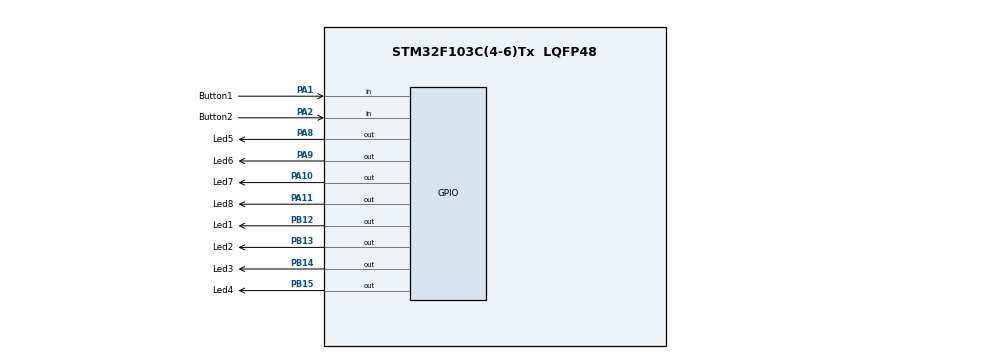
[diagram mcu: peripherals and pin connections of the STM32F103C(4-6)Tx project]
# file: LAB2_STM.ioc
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Mcu.Family=STM32F1
PA9.GPIO_Label=Led6
PB14.GPIO_Label=Led3
PA11.GPIO_Label=Led8
PB13.GPIO_Label=Led2
VP_SYS_VS_ND.Mode=No_Debug
PB13.Signal=GPIO_Output
PB15.Signal=GPIO_Output
ProjectManager.StackSize=0x400
PA8.GPIO_Label=Led5
ProjectManager.TargetToolchain=STM32CubeIDE
PA9.Signal=GPIO_Output
PA1.Signal=GPIO_Input
PB14.Signal=GPIO_Output
board=custom
PB12.GPIO_Label=Led1
RCC.APB2Freq_Value=8000000
PB15.GPIO_Label=Led4
PA1.GPIO_Label=Button1
PA10.GPIO_Label=Led7
PA8.Signal=GPIO_Output
Mcu.Name=STM32F103C(4-6)Tx
PA2.Signal=GPIO_Input
Mcu.Package=LQFP48
PA2.GPIO_Label=Button2
PA11.Signal=GPIO_Output
PA10.Signal=GPIO_Output
ProjectManager.HeapSize=0x200
NVIC.PriorityGroup=NVIC_PRIORITYGROUP_4
RCC.APB1Freq_Value=8000000
PB12.Signal=GPIO_Output

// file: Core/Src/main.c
/* USER CODE BEGIN Header */
/**
 ******************************************************************************
 * @file           : main.c
 * @brief          : Main program body
 ******************************************************************************
 * @attention
 *
 * <h2><center>&copy; Copyright (c) 2022 STMicroelectronics.
 * All rights reserved.</center></h2>
 *
 * This software component is licensed by ST under BSD 3-Clause license,
 * the "License"; You may not use this file except in compliance with the
 * License. You may obtain a copy of the License at:
 *                        opensource.org/licenses/BSD-3-Clause
 *
 ******************************************************************************
 */
/* USER CODE END Header */
#include "main.h"

/* USER CODE BEGIN PV */
static void MX_GPIO_Init(void);
/* USER CODE END PV */

void SystemClock_Config(void);

int main(void)
{

	/* MCU Configuration--------------------------------------------------------*/

	/* Reset of all peripherals, Initializes the Flash interface and the Systick. */
	HAL_Init();

	/* Configure the system clock */
	SystemClock_Config();

	/* Initialize all configured peripherals */
	MX_GPIO_Init();
	/* USER CODE BEGIN 2 */
	int state = 0;
	int state1 = 0;
	/* USER CODE END 2 */

	/* Infinite loop */
	/* USER CODE BEGIN WHILE */
	while (1)
	{
		if (HAL_GPIO_ReadPin(Button1_GPIO_Port, Button1_Pin) == GPIO_PIN_SET)
		{
			while (HAL_GPIO_ReadPin(Button1_GPIO_Port, Button1_Pin)
					== GPIO_PIN_SET)
				;
			state++;
		}

		if (state > 4)
			state = 0;

		if (state == 0)
		{
			HAL_GPIO_WritePin(Led1_GPIO_Port, Led1_Pin, GPIO_PIN_RESET);
			HAL_GPIO_WritePin(Led2_GPIO_Port, Led2_Pin, GPIO_PIN_RESET);
			HAL_GPIO_WritePin(Led3_GPIO_Port, Led3_Pin, GPIO_PIN_RESET);
			HAL_GPIO_WritePin(Led4_GPIO_Port, Led4_Pin, GPIO_PIN_RESET);
		}

		if (state == 1)
		{
			HAL_GPIO_WritePin(Led1_GPIO_Port, Led1_Pin, GPIO_PIN_SET);
			HAL_GPIO_WritePin(Led2_GPIO_Port, Led2_Pin, GPIO_PIN_RESET);
			HAL_GPIO_WritePin(Led3_GPIO_Port, Led3_Pin, GPIO_PIN_RESET);
			HAL_GPIO_WritePin(Led4_GPIO_Port, Led4_Pin, GPIO_PIN_RESET);
		}

		if (state == 2)
		{
			HAL_GPIO_WritePin(Led1_GPIO_Port, Led1_Pin, GPIO_PIN_RESET);
			HAL_GPIO_WritePin(Led2_GPIO_Port, Led2_Pin, GPIO_PIN_SET);
			HAL_GPIO_WritePin(Led3_GPIO_Port, Led3_Pin, GPIO_PIN_RESET);
			HAL_GPIO_WritePin(Led4_GPIO_Port, Led4_Pin, GPIO_PIN_RESET);
		}

		if (state == 3)
		{
			HAL_GPIO_WritePin(Led1_GPIO_Port, Led1_Pin, GPIO_PIN_RESET);
			HAL_GPIO_WritePin(Led2_GPIO_Port, Led2_Pin, GPIO_PIN_RESET);
			HAL_GPIO_WritePin(Led3_GPIO_Port, Led3_Pin, GPIO_PIN_SET);
			HAL_GPIO_WritePin(Led4_GPIO_Port, Led4_Pin, GPIO_PIN_RESET);
		}

		if (state == 4)
		{
			HAL_GPIO_WritePin(Led1_GPIO_Port, Led1_Pin, GPIO_PIN_RESET);
			HAL_GPIO_WritePin(Led2_GPIO_Port, Led2_Pin, GPIO_PIN_RESET);
			HAL_GPIO_WritePin(Led3_GPIO_Port, Led3_Pin, GPIO_PIN_RESET);
			HAL_GPIO_WritePin(Led4_GPIO_Port, Led4_Pin, GPIO_PIN_SET);
		}

		if (HAL_GPIO_ReadPin(Button2_GPIO_Port, Button2_Pin) == GPIO_PIN_SET)
		{
			while (HAL_GPIO_ReadPin(Button2_GPIO_Port, Button2_Pin)
					== GPIO_PIN_SET)
				;
			state1++;
		}

		if (state1 > 4)
			state1 = 0;

		if (state1 == 0)
		{
			HAL_GPIO_WritePin(Led5_GPIO_Port, Led5_Pin, GPIO_PIN_RESET);
			HAL_GPIO_WritePin(Led6_GPIO_Port, Led6_Pin, GPIO_PIN_RESET);
			HAL_GPIO_WritePin(Led7_GPIO_Port, Led7_Pin, GPIO_PIN_RESET);
			HAL_GPIO_WritePin(Led8_GPIO_Port, Led8_Pin, GPIO_PIN_RESET);
		}

		if (state1 == 1)
		{
			HAL_GPIO_WritePin(Led5_GPIO_Port, Led5_Pin, GPIO_PIN_SET);
			HAL_GPIO_WritePin(Led6_GPIO_Port, Led6_Pin, GPIO_PIN_RESET);
			HAL_GPIO_WritePin(Led7_GPIO_Port, Led7_Pin, GPIO_PIN_RESET);
			HAL_GPIO_WritePin(Led8_GPIO_Port, Led8_Pin, GPIO_PIN_RESET);
		}

		if (state1 == 2)
		{
			HAL_GPIO_WritePin(Led5_GPIO_Port, Led5_Pin, GPIO_PIN_SET);
			HAL_GPIO_WritePin(Led6_GPIO_Port, Led6_Pin, GPIO_PIN_SET);
			HAL_GPIO_WritePin(Led7_GPIO_Port, Led7_Pin, GPIO_PIN_RESET);
			HAL_GPIO_WritePin(Led8_GPIO_Port, Led8_Pin, GPIO_PIN_RESET);
		}

		if (state1 == 3)
		{
			HAL_GPIO_WritePin(Led5_GPIO_Port, Led5_Pin, GPIO_PIN_SET);
			HAL_GPIO_WritePin(Led6_GPIO_Port, Led6_Pin, GPIO_PIN_SET);
			HAL_GPIO_WritePin(Led7_GPIO_Port, Led7_Pin, GPIO_PIN_SET);
			HAL_GPIO_WritePin(Led8_GPIO_Port, Led8_Pin, GPIO_PIN_RESET);
		}

		if (state1 == 4)
		{
			HAL_GPIO_WritePin(Led5_GPIO_Port, Led5_Pin, GPIO_PIN_SET);
			HAL_GPIO_WritePin(Led6_GPIO_Port, Led6_Pin, GPIO_PIN_SET);
			HAL_GPIO_WritePin(Led7_GPIO_Port, Led7_Pin, GPIO_PIN_SET);
			HAL_GPIO_WritePin(Led8_GPIO_Port, Led8_Pin, GPIO_PIN_SET);
		}

		/* USER CODE END WHILE */

	}
}

void SystemClock_Config(void)
{
	RCC_OscInitTypeDef RCC_OscInitStruct =
	{ 0 };
	RCC_ClkInitTypeDef RCC_ClkInitStruct =
	{ 0 };

	/** Initializes the RCC Oscillators according to the specified parameters
	 * in the RCC_OscInitTypeDef structure.
	 */
	RCC_OscInitStruct.OscillatorType = RCC_OSCILLATORTYPE_HSI;
	RCC_OscInitStruct.HSIState = RCC_HSI_ON;
	RCC_OscInitStruct.HSICalibrationValue = RCC_HSICALIBRATION_DEFAULT;
	RCC_OscInitStruct.PLL.PLLState = RCC_PLL_NONE;
	if (HAL_RCC_OscConfig(&RCC_OscInitStruct) != HAL_OK)
	{
		Error_Handler();
	}
	/** Initializes the CPU, AHB and APB buses clocks
	 */
	RCC_ClkInitStruct.ClockType = RCC_CLOCKTYPE_HCLK | RCC_CLOCKTYPE_SYSCLK
			| RCC_CLOCKTYPE_PCLK1 | RCC_CLOCKTYPE_PCLK2;
	RCC_ClkInitStruct.SYSCLKSource = RCC_SYSCLKSOURCE_HSI;
	RCC_ClkInitStruct.AHBCLKDivider = RCC_SYSCLK_DIV1;
	RCC_ClkInitStruct.APB1CLKDivider = RCC_HCLK_DIV1;
	RCC_ClkInitStruct.APB2CLKDivider = RCC_HCLK_DIV1;

	if (HAL_RCC_ClockConfig(&RCC_ClkInitStruct, FLASH_LATENCY_0) != HAL_OK)
	{
		Error_Handler();
	}
}

static void MX_GPIO_Init(void)
{
	GPIO_InitTypeDef GPIO_InitStruct =
	{ 0 };

	/* GPIO Ports Clock Enable */
	__HAL_RCC_GPIOA_CLK_ENABLE();
	__HAL_RCC_GPIOB_CLK_ENABLE();

	/*Configure GPIO pin Output Level */
	HAL_GPIO_WritePin(GPIOB, Led1_Pin | Led2_Pin | Led3_Pin | Led4_Pin,
			GPIO_PIN_RESET);

	/*Configure GPIO pin Output Level */
	HAL_GPIO_WritePin(GPIOA, Led5_Pin | Led6_Pin | Led7_Pin | Led8_Pin,
			GPIO_PIN_RESET);

	/*Configure GPIO pins : Button1_Pin Button2_Pin */
	GPIO_InitStruct.Pin = Button1_Pin | Button2_Pin;
	GPIO_InitStruct.Mode = GPIO_MODE_INPUT;
	GPIO_InitStruct.Pull = GPIO_NOPULL;
	HAL_GPIO_Init(GPIOA, &GPIO_InitStruct);

	/*Configure GPIO pins : Led1_Pin Led2_Pin Led3_Pin Led4_Pin */
	GPIO_InitStruct.Pin = Led1_Pin | Led2_Pin | Led3_Pin | Led4_Pin;
	GPIO_InitStruct.Mode = GPIO_MODE_OUTPUT_PP;
	GPIO_InitStruct.Pull = GPIO_NOPULL;
	GPIO_InitStruct.Speed = GPIO_SPEED_FREQ_LOW;
	HAL_GPIO_Init(GPIOB, &GPIO_InitStruct);

	/*Configure GPIO pins : Led5_Pin Led6_Pin Led7_Pin Led8_Pin */
	GPIO_InitStruct.Pin = Led5_Pin | Led6_Pin | Led7_Pin | Led8_Pin;
	GPIO_InitStruct.Mode = GPIO_MODE_OUTPUT_PP;
	GPIO_InitStruct.Pull = GPIO_NOPULL;
	GPIO_InitStruct.Speed = GPIO_SPEED_FREQ_LOW;
	HAL_GPIO_Init(GPIOA, &GPIO_InitStruct);

}

void Error_Handler(void)
{
	__disable_irq();
	while (1)
	{
	}
}

/************************ (C) COPYRIGHT STMicroelectronics *****END OF FILE****/
